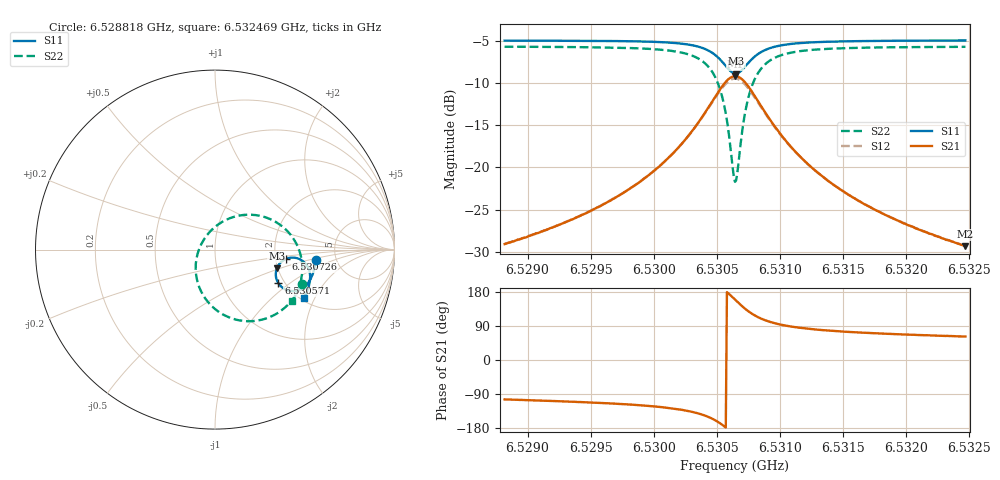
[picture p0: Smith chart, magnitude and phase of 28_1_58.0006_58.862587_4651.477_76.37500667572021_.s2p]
#  HZ  S  RI  R  50.00
! Rohde & Schwarz Vector Network Analyzer
! Rohde-Schwarz,ZNB20-2Port,1311601062101988,3.16
! Created: UTC 3/21/2024, 12:51:28 AM
! freq[Hz]  re:S11  im:S11  re:S21  im:S21  re:S12  im:S12  re:S22  im:S22
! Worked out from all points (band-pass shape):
!   401 points, 6.528818 GHz to 6.532469 GHz, reference 50 ohm
!   highest |S21| = -9.18 dB at 6.530644 GHz (marker M1); lowest = -29.3 dB at 6.532469 GHz (marker M2)
!   |S21| within 3 dB of the highest: 6.530463 GHz to 6.530827 GHz (364.9 kHz wide, 0.00559 % of centre)
!   lowest |S11| = -8.9 dB at 6.530653 GHz (marker M3), VSWR 2.13, Z = 98.7 - j23.8 ohm
!   |S11| at or under -10 dB: nowhere
!   |S22| runs from -21.7 to -5.7 dB; largest |S21 - S12| = 0.015
!   S11 on the Smith chart (normalised r, x): 6.528818 GHz: 3.48, -0.60; 6.530571 GHz: 1.85, -0.82; 6.530726 GHz: 2.28, -0.28; 6.532469 GHz: 2.09, -1.66
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6.5288183e9  0.561 -0.0589  -0.00846 -0.034  -0.00925 -0.034  0.4821 -0.192
6.5294298e9  0.5515 -0.1121  -0.0189 -0.0488  -0.0201 -0.0483  0.4493 -0.2537
6.5297583e9  0.541 -0.145  -0.0315 -0.0632  -0.0332 -0.0625  0.4161 -0.2968
6.5300412e9  0.5237 -0.1788  -0.056 -0.0841  -0.0585 -0.0825  0.3606 -0.3454
6.5302603e9  0.4935 -0.2109  -0.1033 -0.108  -0.1068 -0.104  0.2652 -0.3894
6.5304154e9  0.4436 -0.2306  -0.1834 -0.1149  -0.1862 -0.1067  0.1184 -0.3905
6.5305067e9  0.3919 -0.2217  -0.2648 -0.0814  -0.263 -0.0695  -0.0157 -0.3169
6.5305432e9  0.3684 -0.2058  -0.2998 -0.0467  -0.2946 -0.0342  -0.0676 -0.251
6.5305706e9  0.3529 -0.1869  -0.3215 -0.00959  -0.3132 0.00226  -0.0961 -0.1846
6.5306254e9  0.3388 -0.134  -0.3341 0.0874  -0.3209 0.0939  -0.0968 -0.0222
6.5306436e9  0.3416 -0.1145  -0.3254 0.1215  -0.3117 0.1256  -0.0757 0.0317
6.5306527e9  0.3445 -0.105  -0.3185 0.1377  -0.3049 0.1407  -0.0614 0.057
6.530671e9  0.3533 -0.0874  -0.3003 0.1677  -0.2871 0.1683  -0.0258 0.1024
6.5306892e9  0.3651 -0.0725  -0.2772 0.1929  -0.2651 0.1913  0.0166 0.1393
6.5307257e9  0.3943 -0.0524  -0.2234 0.2261  -0.2144 0.222  0.1111 0.1842
6.5307896e9  0.4447 -0.0454  -0.1349 0.2367  -0.1304 0.2324  0.2611 0.1856
6.5308809e9  0.4914 -0.0657  -0.0555 0.2053  -0.0536 0.2028  0.3907 0.1154
6.5310178e9  0.5203 -0.1035  -0.00664 0.1526  -0.00542 0.1516  0.4644 0.00849
6.5312551e9  0.5302 -0.1507  0.0149 0.0981  0.0159 0.0979  0.4865 -0.1043
6.531538e9  0.5265 -0.1879  0.0188 0.0666  0.0197 0.0665  0.4782 -0.1763
6.5318666e9  0.5177 -0.2208  0.0183 0.0476  0.0192 0.0473  0.4619 -0.2276
6.5324689e9  0.497 -0.2699  0.0161 0.0301  0.0167 0.03  0.4306 -0.2887
